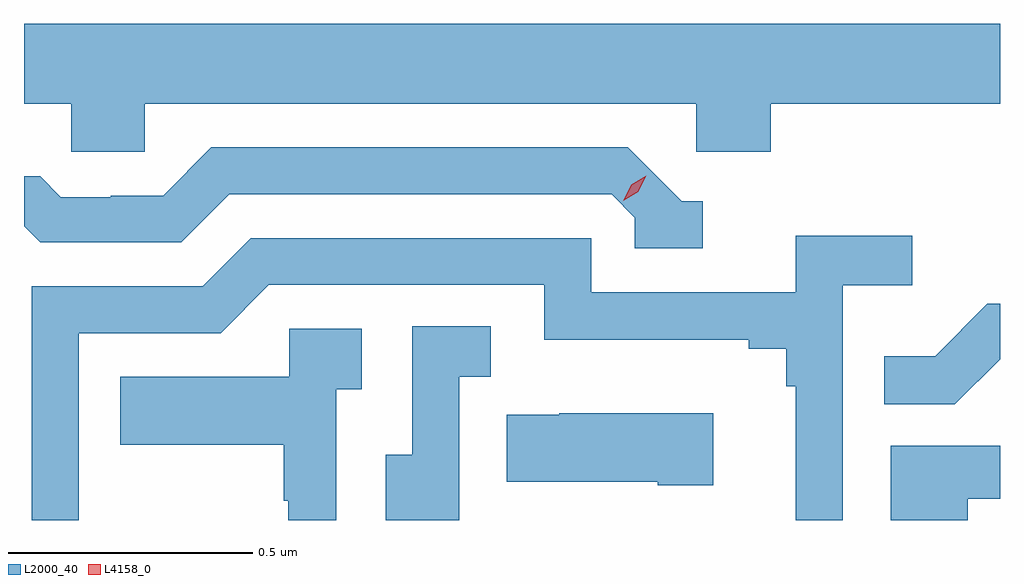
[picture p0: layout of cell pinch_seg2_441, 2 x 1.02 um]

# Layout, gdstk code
import gdstk
lib = gdstk.Library(unit=1e-6, precision=1e-09)
def P(c, l, *ps):  # polygons
    for p in ps: c.add(gdstk.Polygon(p, *l))
L2000_40 = (2000, 40)
L4158_0 = (4158, 0)

pinch_seg2_441 = lib.new_cell('pinch_seg2_441')
P(pinch_seg2_441, L2000_40, [(951.027,605.012),(952.158,605.012),(952.158,604.914),(952.31,604.914),(952.31,605.012),(952.78,605.012),(952.78,605.176),(950.78,605.176),(950.78,605.012),(950.877,605.012),(950.877,604.914),(951.027,604.914)],
  [(952.171,604.812),(952.128,604.812),(952.017,604.923),(951.164,604.923),(951.065,604.824),(950.958,604.824),(950.958,604.821),(950.855,604.821),(950.813,604.864),(950.78,604.864),(950.78,604.761),(950.813,604.728),(951.102,604.728),(951.201,604.827),(951.984,604.827),(952.032,604.779),(952.032,604.716),(952.171,604.716)],
  [(950.892,604.542),(951.183,604.542),(951.282,604.641),(951.846,604.641),(951.846,604.529),(952.265,604.529),(952.265,604.51),(952.342,604.51),(952.342,604.433),(952.361,604.433),(952.361,604.159),(952.458,604.159),(952.458,604.64),(952.6,604.64),(952.6,604.742),(952.361,604.742),(952.361,604.626),(951.942,604.626),(951.942,604.737),(951.245,604.737),(951.146,604.638),(950.796,604.638),(950.796,604.159),(950.892,604.159)],
  [(952.78,604.489),(952.78,604.602),(952.754,604.602),(952.647,604.495),(952.543,604.495),(952.543,604.396),(952.687,604.396)],
  [(951.672,604.453),(951.736,604.453),(951.736,604.556),(951.576,604.556),(951.576,604.293),(951.521,604.293),(951.521,604.159),(951.672,604.159)],
  [(951.42,604.427),(951.472,604.427),(951.472,604.551),(951.324,604.551),(951.324,604.453),(950.977,604.453),(950.977,604.313),(951.312,604.313),(951.312,604.199),(951.322,604.199),(951.322,604.159),(951.42,604.159)],
  [(952.192,604.378),(951.877,604.378),(951.877,604.375),(951.769,604.375),(951.769,604.238),(952.079,604.238),(952.079,604.231),(952.192,604.231)],
  [(952.714,604.203),(952.78,604.203),(952.78,604.311),(952.556,604.311),(952.556,604.159),(952.714,604.159)])
P(pinch_seg2_441, L4158_0, [(952.008,604.813),(952.008,604.814),(952.024,604.846),(952.055,604.865),(952.055,604.865),(952.055,604.865),(952.039,604.832),(952.008,604.813)])

lib.write_gds('pinch_seg2_441.gds')
